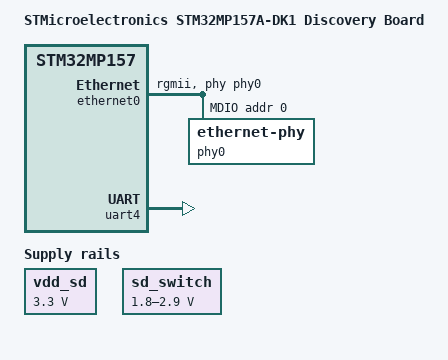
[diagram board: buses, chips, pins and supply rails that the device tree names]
// SPDX-License-Identifier: (GPL-2.0+ OR BSD-3-Clause)
/*
 * Copyright (C) STMicroelectronics 2018 - All Rights Reserved
 * Author: Alexandre Torgue <alexandre.torgue@st.com>.
 */

/dts-v1/;

#include "stm32mp157c.dtsi"
#include <arm/stm32mp157c.dtsi>
#include <arm/stm32mp157-pinctrl.dtsi>
#include <dt-bindings/gpio/gpio.h>

/ {
	model = "STMicroelectronics STM32MP157A-DK1 Discovery Board";
	compatible = "st,stm32mp157a-dk1", "st,stm32mp157";

	aliases {
		ethernet0 = &ethernet0;
		serial0 = &uart4;
	};

	chosen {
		stdout-path = "serial0:115200n8";
	};

	vdd_sd: regulator-vdd_sd {
		compatible = "regulator-fixed";
		regulator-name = "vdd_sd";
		regulator-min-microvolt = <3300000>;
		regulator-max-microvolt = <3300000>;
		regulator-always-on;
	};

	sram: sram@10050000 {
		compatible = "mmio-sram";
		reg = <0x10050000 0x10000>;
		#address-cells = <1>;
		#size-cells = <1>;
		ranges = <0 0x10050000 0x10000>;

		dma_pool: dma_pool@0 {
			reg = <0x0 0x10000>;
			pool;
		};
	};

	sd_switch: regulator-sd_switch {
		   compatible = "regulator-gpio";
		   regulator-name = "sd_switch";
		   regulator-min-microvolt = <1800000>;
		   regulator-max-microvolt = <2900000>;
		   regulator-type = "voltage";
		   regulator-always-on;

		   gpios = <&gpiof 14 GPIO_ACTIVE_HIGH>;
		   gpios-states = <0>;
		   states = <1800000 0x1 2900000 0x0>;
   };

};

&ethernet0 {
	status = "okay";
	pinctrl-0 = <&ethernet0_rgmii_pins_a>;
	pinctrl-names = "default", "sleep";
	phy-mode = "rgmii";
	max-speed = <1000>;
	phy-handle = <&phy0>;

	mdio0 {
		#address-cells = <1>;
		#size-cells = <0>;
		compatible = "snps,dwmac-mdio";
		phy0: ethernet-phy@0 {
			reg = <0>;
		};
	};
};

&sdmmc1 {
	pinctrl-names = "default", "opendrain", "sleep";
	pinctrl-0 = <&sdmmc1_b4_pins_a &sdmmc1_dir_pins_a>;
	pinctrl-1 = <&sdmmc1_b4_od_pins_a &sdmmc1_dir_pins_a>;
	pinctrl-2 = <&sdmmc1_b4_sleep_pins_a &sdmmc1_dir_sleep_pins_a>;
	broken-cd;
	st,sig-dir;
	st,neg-edge;
	st,use-ckin;
	bus-width = <4>;
	vmmc-supply = <&vdd_sd>;
	vqmmc-supply = <&sd_switch>;
	status = "disabled"; /* FIXME hangs during probe */
};

&uart4 {
	pinctrl-names = "default";
	pinctrl-0 = <&uart4_pins_a>;
	status = "okay";
};
